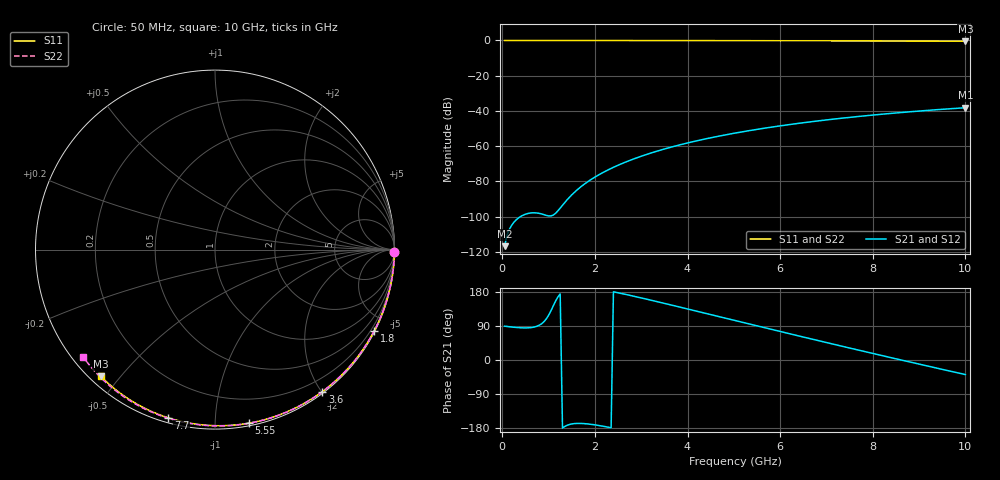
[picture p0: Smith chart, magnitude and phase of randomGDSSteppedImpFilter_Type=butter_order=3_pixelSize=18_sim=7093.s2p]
! freq	dB(S11)	phase(S11)	dB(S12)	phase(S12)
!  dB(S21)	phase(S21)	dB(S22)	phase(S22)
!S-par simulation data
#  GHz  S  DB  R 50
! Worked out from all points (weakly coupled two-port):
!   200 points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, 50 MHz to 10 GHz, reference 50 ohm
!   highest |S21| = -38.16 dB at 10 GHz (marker M1); lowest = -116.7 dB at 50 MHz (marker M2)
!   lowest |S11| = -0.4 dB at 10 GHz (marker M3), VSWR 38.99, Z = 1.54 - j22.2 ohm
!   |S11| at or under -10 dB: nowhere
!   |S22| runs from -0.5 to 0.0 dB; largest |S21 - S12| = 0
!   S11 on the Smith chart (normalised r, x): 50 MHz: open; 1.8 GHz: 0.04, -4.16; 3.6 GHz: 0.02, -2.01; 5.55 GHz: 0.02, -1.21; 7.7 GHz: 0.02, -0.76; 10 GHz: 0.03, -0.44
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0.05  -0.00 -0.8  -116.72 89.2  -116.72 89.2  -0.00 -0.8
0.45  -0.01 -6.9  -99.12 84.8  -99.12 84.8  -0.01 -7.3
0.9  -0.02 -13.6  -98.84 101.1  -98.84 101.1  -0.02 -14.6
1.75  -0.03 -26.3  -81.94 -167.7  -81.94 -167.7  -0.04 -28.0
1.8  -0.03 -27.0  -80.97 -168.2  -80.97 -168.2  -0.04 -28.8
1.85  -0.04 -27.8  -80.06 -168.8  -80.06 -168.8  -0.04 -29.6
2.15  -0.04 -32.2  -75.27 -174.2  -75.27 -174.2  -0.04 -34.3
2.35  -0.05 -35.1  -72.59 -178.8  -72.59 -178.8  -0.05 -37.4
2.55  -0.05 -38.0  -70.22 176.1  -70.22 176.1  -0.05 -40.5
2.95  -0.06 -43.7  -66.15 165.3  -66.15 165.3  -0.06 -46.6
3.4  -0.07 -50.1  -62.34 152.4  -62.34 152.4  -0.07 -53.3
3.6  -0.07 -52.9  -60.85 146.5  -60.85 146.5  -0.08 -56.3
3.9  -0.08 -57.0  -58.80 137.7  -58.80 137.7  -0.08 -60.7
4.3  -0.09 -62.5  -56.35 125.8  -56.35 125.8  -0.09 -66.5
5.05  -0.11 -72.5  -52.44 103.5  -52.44 103.5  -0.12 -77.1
5.55  -0.13 -79.0  -50.23 88.6  -50.23 88.6  -0.14 -84.0
6.1  -0.15 -85.9  -48.09 72.3  -48.09 72.3  -0.16 -91.4
6.7  -0.18 -93.4  -46.02 54.7  -46.02 54.7  -0.19 -99.4
7.7  -0.24 -105.5  -43.10 25.8  -43.10 25.8  -0.26 -112.2
8.35  -0.29 -113.1  -41.48 7.4  -41.48 7.4  -0.31 -120.4
9.2  -0.36 -122.9  -39.64 -16.4  -39.64 -16.4  -0.39 -131.0
10  -0.45 -132.0  -38.16 -38.4  -38.16 -38.4  -0.47 -141.0
